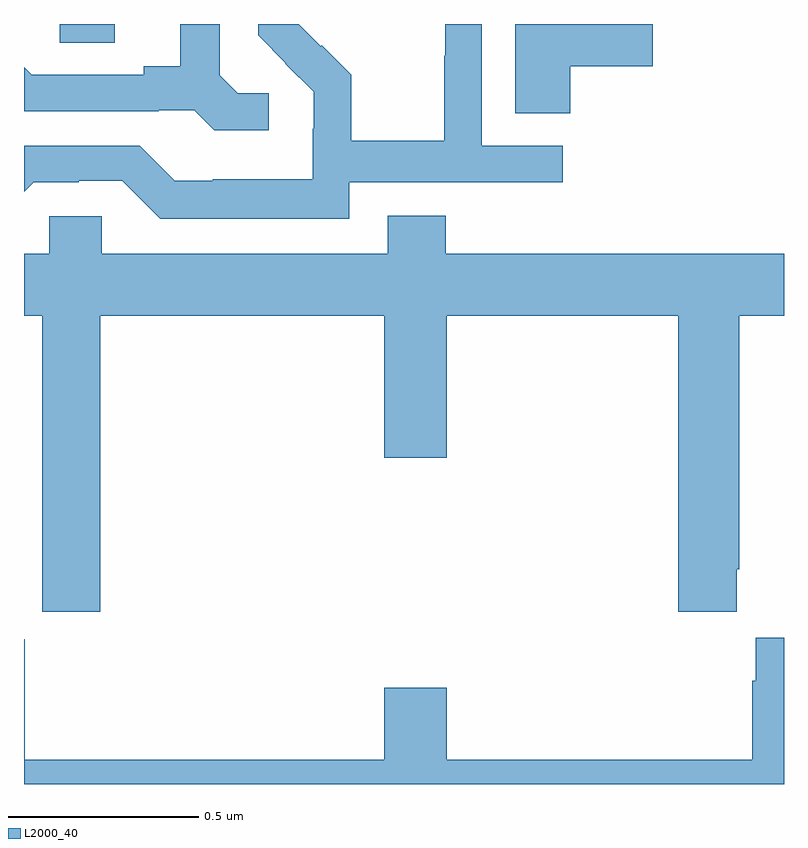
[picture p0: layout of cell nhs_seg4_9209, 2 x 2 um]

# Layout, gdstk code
import gdstk
lib = gdstk.Library(unit=1e-6, precision=1e-09)
def R(c, l, rs):  # rectangles x0, y0, x1, y1
    for r in rs: c.add(gdstk.rectangle(r[:2], r[2:], *l))
def P(c, l, *ps):  # polygons
    for p in ps: c.add(gdstk.Polygon(p, *l))
L2000_40 = (2000, 40)

nhs_seg4_9209 = lib.new_cell('nhs_seg4_9209')
R(nhs_seg4_9209, L2000_40, [(224.094,818.851,224.239,818.9)])
P(nhs_seg4_9209, L2000_40, [(225.437,818.789),(225.655,818.789),(225.655,818.9),(225.293,818.9),(225.293,818.665),(225.437,818.665)],
  [(224.644,818.718),(224.562,818.718),(224.515,818.765),(224.515,818.9),(224.411,818.9),(224.411,818.789),(224.315,818.789),(224.315,818.766),(224.02,818.766),(224,818.786),(224,818.67),(224.354,818.67),(224.354,818.673),(224.448,818.673),(224.5,818.621),(224.644,818.621)],
  [(224.856,818.484),(225.418,818.484),(225.418,818.58),(225.204,818.58),(225.204,818.9),(225.108,818.9),(225.108,818.816),(225.106,818.816),(225.106,818.593),(224.861,818.593),(224.861,818.767),(224.784,818.844),(224.781,818.841),(224.723,818.9),(224.616,818.9),(224.616,818.87),(224.689,818.797),(224.688,818.796),(224.762,818.722),(224.762,818.625),(224.76,818.625),(224.76,818.491),(224.497,818.491),(224.497,818.487),(224.397,818.487),(224.304,818.58),(224,818.58),(224,818.459),(224.025,818.484),(224.144,818.484),(224.144,818.487),(224.259,818.487),(224.359,818.387),(224.856,818.387)],
  [(224.201,818.132),(224.948,818.132),(224.948,817.758),(225.112,817.758),(225.112,818.132),(225.722,818.132),(225.722,817.353),(225.875,817.353),(225.875,817.465),(225.882,817.465),(225.882,818.132),(226,818.132),(226,818.296),(225.11,818.296),(225.11,818.395),(224.957,818.395),(224.957,818.296),(224.205,818.296),(224.205,818.394),(224.067,818.394),(224.067,818.296),(224,818.296),(224,818.132),(224.048,818.132),(224.048,817.353),(224.201,817.353)],
  [(226,817.285),(225.926,817.285),(225.926,817.172),(225.917,817.172),(225.917,816.964),(225.112,816.964),(225.112,817.153),(224.948,817.153),(224.948,816.964),(224.002,816.964),(224.002,817.281),(224,817.281),(224,816.9),(226,816.9)])

lib.write_gds('nhs_seg4_9209.gds')
